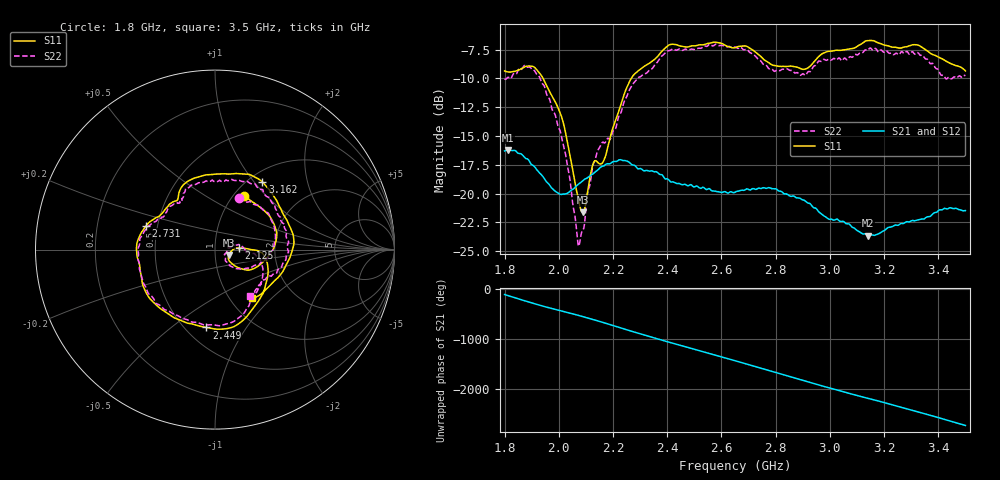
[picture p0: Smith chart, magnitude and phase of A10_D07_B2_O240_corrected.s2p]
! Created with skrf 1.9.0 (http://scikit-rf.org).
# Hz S RI R 50.0
!freq ReS11 ImS11 ReS21 ImS21 ReS12 ImS12 ReS22 ImS22
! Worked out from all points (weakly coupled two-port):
!   1601 points, 1.8 GHz to 3.5 GHz, reference 50 ohm
!   highest |S21| = -16.20 dB at 1.814 GHz (marker M1); lowest = -23.6 dB at 3.142 GHz (marker M2)
!   lowest |S11| = -21.6 dB at 2.088 GHz (marker M3), VSWR 1.18, Z = 58.3 - j3.53 ohm
!   |S11| at or under -10 dB: 1.942 GHz to 2.267 GHz (325.1 MHz wide, 15.4 % of centre)
!   |S22| runs from -24.6 to -7.0 dB; largest |S21 - S12| = 0.003
!   S11 on the Smith chart (normalised r, x): 1.8 GHz: 1.12, +0.76; 2.125 GHz: 1.31, +0.02; 2.449 GHz: 0.63, -0.67; 2.731 GHz: 0.43, +0.14; 3.162 GHz: 1.15, +1.10; 3.5 GHz: 1.26, -0.77
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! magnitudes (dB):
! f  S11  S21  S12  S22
! 1.8 GHz  -9.3  -16.3  -16.3  -10.0
! 1.814 GHz  -9.4  -16.2  -16.2  -9.9
! 1.88 GHz  -8.9  -17.0  -17.0  -9.0
! 1.942 GHz  -10.0  -18.5  -18.5  -10.5
! 2.013 GHz  -13.5  -20.1  -20.1  -15.4
! 2.069 GHz  -20.1  -19.2  -19.3  -24.0
! 2.084 GHz  -21.5  -19.0  -18.9  -23.4
! 2.088 GHz  -21.6  -18.9  -18.9  -23.2
! 2.125 GHz  -17.5  -18.3  -18.3  -17.6
! 2.167 GHz  -17.1  -17.6  -17.6  -15.6
! 2.268 GHz  -10.0  -17.4  -17.4  -10.7
! 2.367 GHz  -8.0  -18.2  -18.2  -8.5
! 2.449 GHz  -7.2  -19.2  -19.2  -7.5
! 2.65 GHz  -7.3  -19.9  -19.9  -7.3
! 2.731 GHz  -7.8  -19.6  -19.6  -8.2
! 2.934 GHz  -8.8  -21.1  -21.0  -9.2
! 3.142 GHz  -6.7  -23.6  -23.5  -7.5
! 3.162 GHz  -6.7  -23.6  -23.6  -7.5
! 3.217 GHz  -7.2  -22.9  -22.9  -7.8
! 3.325 GHz  -7.1  -22.3  -22.3  -7.8
! 3.428 GHz  -8.5  -21.3  -21.3  -10.0
! 3.5 GHz  -9.3  -21.5  -21.5  -9.8
